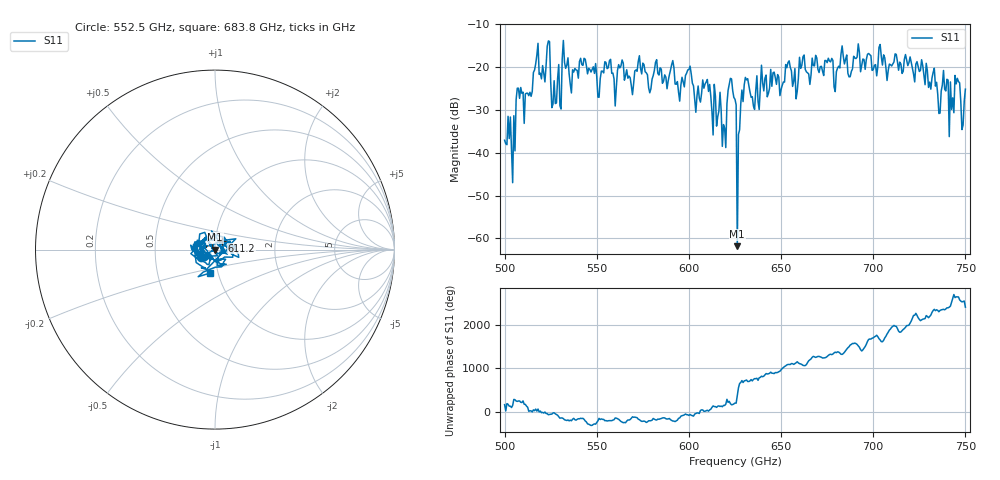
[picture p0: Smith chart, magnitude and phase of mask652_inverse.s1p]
!Created with skrf (http://scikit-rf.org).
# GHz S MA R 50.0
!freq magS11 angS11
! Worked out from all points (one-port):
!   401 points, 500 GHz to 750 GHz, reference 50 ohm
!   lowest |S11| = -61.8 dB at 626.2 GHz (marker M1), VSWR 1.00, Z = 50.1 + j0.0276 ohm
!   |S11| at or under -10 dB: start of sweep to end of sweep
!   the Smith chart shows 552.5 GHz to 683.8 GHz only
!   S11 on the Smith chart (normalised r, x): 552.5 GHz: 0.85, -0.07; 611.2 GHz: 1.07, +0.11; 683.8 GHz: 0.91, -0.24
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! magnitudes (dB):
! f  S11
! 500 GHz  -37.1
! 504.4 GHz  -47.0
! 507.5 GHz  -24.9
! 513.8 GHz  -25.8
! 516.9 GHz  -19.2
! 523.8 GHz  -13.8
! 526.9 GHz  -23.1
! 531.2 GHz  -18.0
! 552.5 GHz  -20.9
! 562.5 GHz  -20.2
! 590.6 GHz  -19.4
! 593.8 GHz  -23.4
! 600 GHz  -20.5
! 604.4 GHz  -26.7
! 611.2 GHz  -24.0
! 618.8 GHz  -33.4
! 623.1 GHz  -22.7
! 624.4 GHz  -27.1
! 625 GHz  -27.5
! 626.2 GHz  -61.8
! 631.2 GHz  -23.0
! 634.4 GHz  -26.9
! 656.2 GHz  -24.5
! 680 GHz  -21.0
! 683.8 GHz  -17.5
! 687.5 GHz  -22.2
! 718.8 GHz  -19.6
! 750 GHz  -25.1
